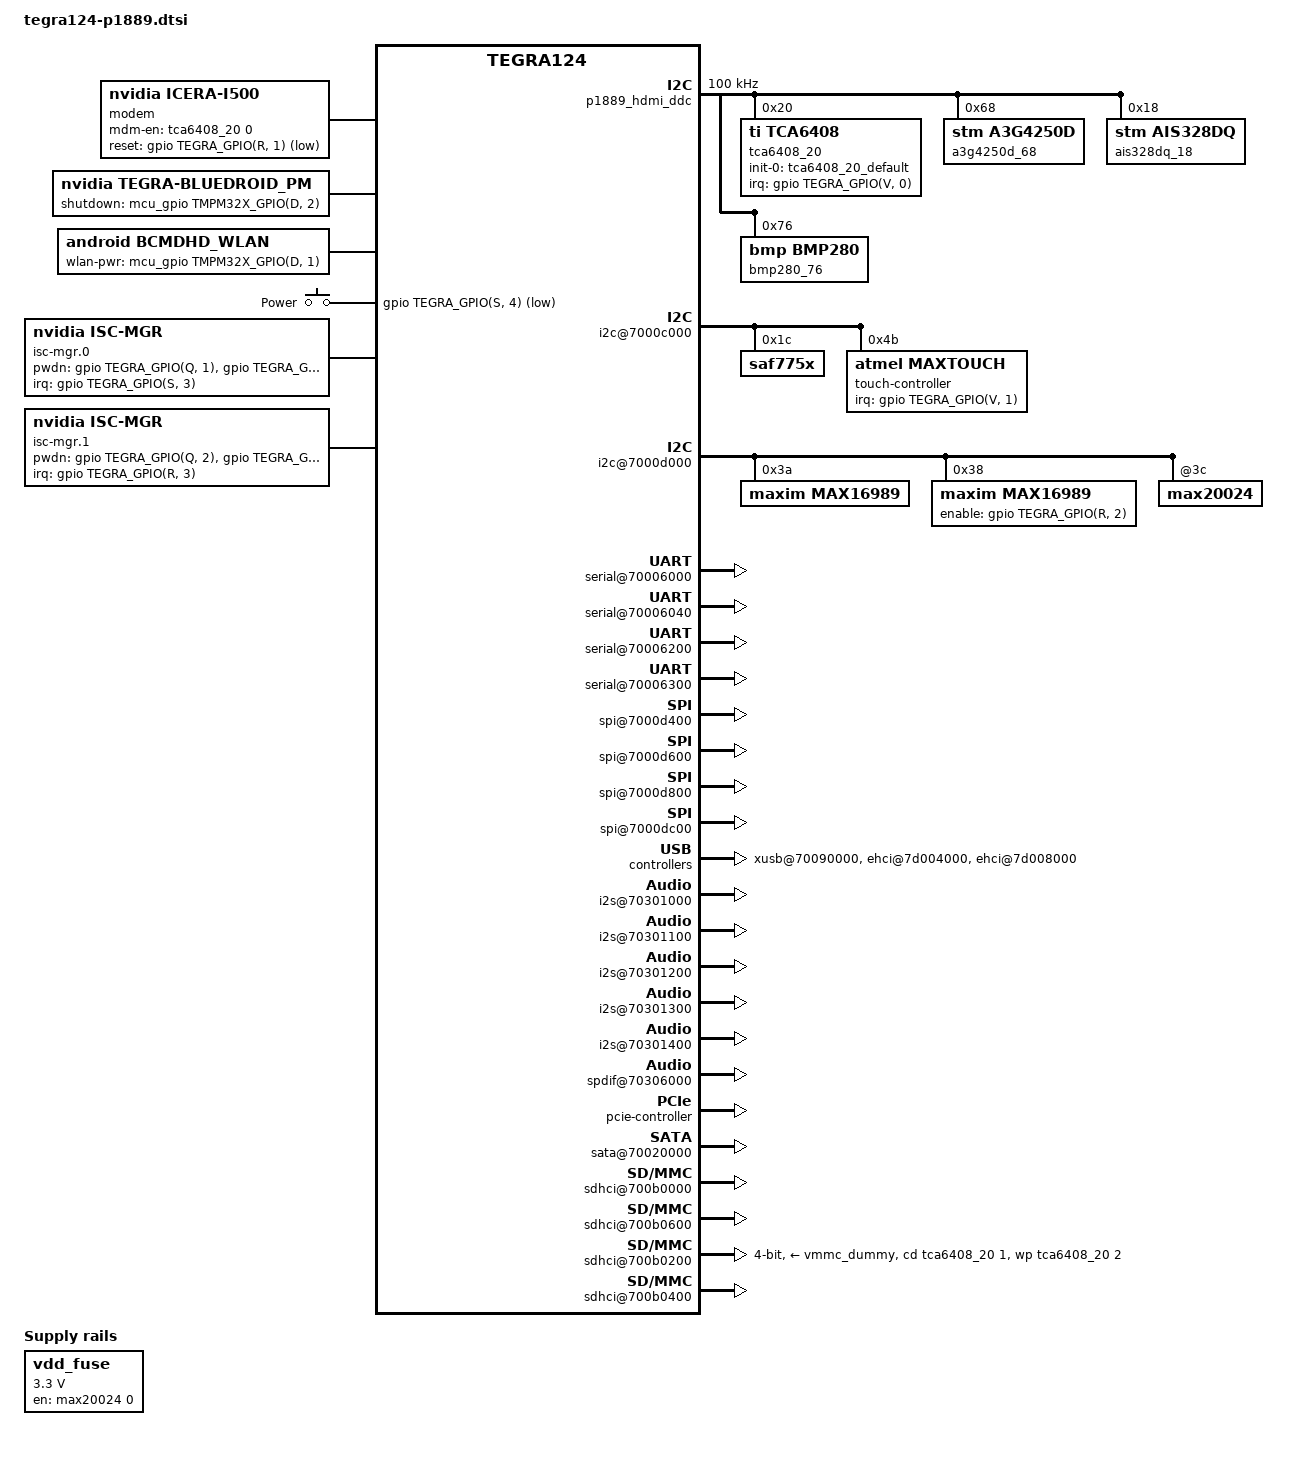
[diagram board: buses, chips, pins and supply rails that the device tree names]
/*
 * arch/arm/boot/dts/tegra124-p1889.dts
 *
 * Copyright (c) 2013-2015, NVIDIA CORPORATION.  All rights reserved.
 *
 * This program is free software; you can redistribute it and/or modify
 * it under the terms of the GNU General Public License as published by
 * the Free Software Foundation; version 2 of the License.
 *
 * This program is distributed in the hope that it will be useful, but WITHOUT
 * ANY WARRANTY; without even the implied warranty of MERCHANTABILITY or
 * FITNESS FOR A PARTICULAR PURPOSE.  See the GNU General Public License for
 * more details.
 *
 * You should have received a copy of the GNU General Public License along
 * with this program; if not, write to the Free Software Foundation, Inc.,
 * 51 Franklin Street, Fifth Floor, Boston, MA  02110-1301, USA.
 *
 */

/*
 * tegra124-p1889.dtsi is the board dtsi file representing the p1889
 * board. Since the same p1889 board is supported in multiple ways eg
 * ardbeg, virtual machines, p1889 linux etc, this file needs to be
 * included and then the required changes should be made in the
 * corresponding dts
 */

#include "tegra124-vcm30_t124.dtsi"
#include <panel-a-edp-1080p-14-0.dtsi>
#include <tegra124-platforms/tegra124-vcm30-t124-hdmi.dtsi>
#include <dt-bindings/gpio/tmpm32x-gpio.h>
#include <tegra124-platforms/tegra124-pmic-vcm30t124-max20024.dtsi>

/ {
	#address-cells = <2>;
	#size-cells = <2>;

	mcu_gpio: tmpm32x-gpio {
		compatible = "nvidia,tmpm32x-gpio";
		gpio-controller;
		#gpio-cells = <2>;
		nvidia,ttyport = "/dev/ttyTHS2";
		status = "okay";
	};

	host1x {
		hdmi {
			nvidia,hpd-gpio = <&gpio 0xFFFFFFFF 1>; /* hotplug less HDMI */
			nvidia,ddc-i2c-bus = <&p1889_hdmi_ddc>;
		};

		sor {
			status = "okay";
			panel-a-edp-1080p-14-0 {
				disp-default-out {
					nvidia,out-max-pixclk = <3367>;
					nvidia,dither = <TEGRA_DC_ORDERED_DITHER>;
					nvidia,out-depth = <0>; /* let EDID set */
				};
			};
		};

		dpaux {
			status = "okay";
		};

		/* tegradc.0 */
		dc@54200000 {
			nvidia,dc-flags = <TEGRA_DC_FLAG_ENABLED>;
			nvidia,emc-clk-rate = <204000000>;
			nvidia,fb-bpp = <32>; /* bits per pixel */
			nvidia,cmu-enable = <1>;
			status = "okay";
		};

		/* tegradc.1 */
		dc@54240000 {
			nvidia,emc-clk-rate = <300000000>;
			nvidia,fb-bpp = <32>; /* bits per pixel */
			status = "okay";
		};
	};

	p1889_hdmi_ddc: i2c@7000c400 {
		clock-frequency = <100000>;
	};

	i2c@7000c000 {
		saf775x@1c {
			compatible = "saf775x";
			reg = <0x1c>;
		};
		touch-controller@4b {
			compatible = "atmel,maxtouch";
			reg = <0x4b>;
			interrupt-parent = <&gpio>;
			interrupts = <TEGRA_GPIO(V, 1) 0x0>;
			atmel,irq_flags = <IRQ_TYPE_LEVEL_LOW>;
			status = "okay";
		};
	};

	i2c@7000d000 {
		status = "okay";

		max16989@3a {
			compatible = "maxim,max16989";
			reg = <0x3a>;
			regulator-name = "max16989-vdd-cpu";
			regulator-min-microvolt = <500000>;
			regulator-max-microvolt = <1500000>;
			consumers {
				c1 {
					regulator-consumer-supply = "vdd_cpu";
				};
			};
		};

		max16989@38 {
			compatible = "maxim,max16989";
			reg = <0x38>;
			regulator-name = "max16989-vdd-gpu";
			regulator-min-microvolt = <500000>;
			regulator-max-microvolt = <1500000>;
			maxim,enable-gpio = <&gpio TEGRA_GPIO(R, 2) 0>;
			regulator-enable-ramp-delay = <210>;
			consumers {
				c1 {
					regulator-consumer-supply = "vdd_gpu";
				};
			};
		};

		max20024@3c {
			regulators {
				ldo5 {
					status = "okay";
				};
			};
		};
	};

	regulators {
                compatible = "simple-bus";
                device_type = "fixed-regulators";
                #address-cells = <1>;
                #size-cells = <0>;

                vdd_fuse: regulator@1 {
                        compatible = "regulator-fixed-sync";
                        regulator-name = "vdd_fuse";
                        regulator-min-microvolt = <3300000>;
                        regulator-max-microvolt = <3300000>;
                        gpio = <&max20024 0 0>;
                        enable-active-high;
                };
        };


        /* Populate fuse supply */
        efuse@7000f800 {
                vpp_fuse-supply = <&vdd_fuse>;
        };

	i2c@7000c400 {
		nvidia,clock-always-on;
		tca6408_20: tca6408@20 {
			compatible = "ti,tca6408";
			gpio-controller;
			#gpio-cells = <2>;
			reg = <0x20>;
			interrupt-parent = <&gpio>;
			interrupts = <TEGRA_GPIO(V, 0) 0x0>;
			gpio-init-names = "default";
			gpio-init-0 = <&tca6408_20_default>;
			tca6408_20_default: default {
				gpio-input = <1 2 7>;
				gpio-output-low = <0 3 6>;
				gpio-output-high = <4 5>;
			};
		};
		a3g4250d_68: a3g4250d@68 {
			compatible = "stm,a3g4250d";
			reg = <0x68>;
			gyroscope_matrix = [00 ff 00 ff 00 00 00 00 ff];
		};
		ais328dq_18: ais328dq@18 {
			compatible = "stm,ais328dq";
			reg = <0x18>;
			accelerometer_matrix = [00 ff 00 ff 00 00 00 00 ff];
		};
		bmp280_76: bmp280@76 {
			compatible = "bmp,bmp280";
			nvi_config = "host";
			reg = <0x76>;
		};
	};

	modem {
		compatible = "nvidia,icera-i500";
		/* XHCI_UTMI phy type */
		nvidia,phy-type = <2>;
		nvidia,mdm-en-gpio = <&tca6408_20 0 GPIO_ACTIVE_HIGH>;
		nvidia,reset-gpio = <&gpio TEGRA_GPIO(R, 1) GPIO_ACTIVE_LOW>;
		status = "okay";
	};

	serial@70006000 {
		status = "okay";
	};

	serial@70006040 {
		compatible = "nvidia,tegra20-uart";
		console-port;
		status = "okay";
	};

	serial@70006200 {
		status = "okay";
	};

	serial@70006300 {
		status = "okay";
	};

	spi@7000d400 {
		status = "okay";
	};

	spi@7000d600 {
		status = "okay";
	};

	spi@7000d800 {
		status = "okay";
	};

	spi@7000dc00 {
		status = "okay";
	};

	xusb@70090000 {
		nvidia,portmap = <0x103>;
		nvidia,ss_portmap = <0x11>;
		nvidia,lane_owner = <0x6>;
		status = "okay";
	};

	ahub {
		status = "okay";

		i2s@70301000 {
			status = "okay";
		};
		i2s@70301100 {
			status = "okay";
		};
		i2s@70301200 {
			fsync-width = <0>;
			status = "okay";
		};
		i2s@70301300 {
			status = "okay";
		};
		i2s@70301400 {
			status = "okay";
		};
		spdif@70306000 {
			status = "okay";
		};
		amx@70303000 {
			status = "okay";
		};
		adx@70303800 {
			status = "okay";
		};
		amx@70303100 {
			status = "okay";
		};
		adx@70303900 {
			status = "okay";
		};
		dam@70302000 {
			status = "okay";
		};
		dam@70302200 {
			status = "okay";
		};
		dam@70302400 {
			status = "okay";
		};
		afc@70307000 {
			status = "okay";
		};
		afc@70307100 {
			status = "okay";
		};
		afc@70307200 {
			status = "okay";
		};
		afc@70307300 {
			status = "okay";
		};
		afc@70307400 {
			status = "okay";
		};
		afc@70307500 {
			status = "okay";
		};
	};

	pcie-controller {
		status = "okay";

		pci@1,0 {
			status = "okay";
		};

		pci@2,0 {
			status = "okay";
		};
	};

	sata@70020000 {
		status = "okay";
	};

	sdhci@700b0000 {
		status = "okay";
	};

	sdhci@700b0600 {
		pwr-off-during-lp0 = <1>;
		status = "okay";
	};

	sdhci@700b0200 {
		/delete-property/ built-in;
		/delete-property/ nvidia,disable-auto-cal;
		cd-gpios = <&tca6408_20 1 0>;
		wp-gpios = <&tca6408_20 2 0>;
		uhs-mask = <0x7F>;
		tap-delay = <0x5>;
		trim-delay = <0x3>;
		mmc-ocr-mask = <3>;
		bus-width = <4>;
		max-clk-limit = <50000000>;
		pll_source = "pll_c", "pll_p";
		vmmc-supply = <&vmmc_dummy>;
		cd_wakeup_incapable = <1>;
		calib-3v3-offsets = <0x710A>;
		calib-1v8-offsets = <0x710A>;
		auto-cal-step = <0x7>;
		/* clock freq based on mode */
		fixed-clock-freq = <25500000 24000000 24000000 47000000 24000000 47000000 0 0 0 0 0>;
		nvidia,enable-ext-loopback;
		nvidia,auto-cal-slew-override;
		status = "okay";
	};

	sdhci@700b0400 {
		vddio_sdmmc-supply = <&max20024_ldo5>;
		status = "okay";
	};

	snor {
		status = "okay";
	};

	ehci@7d000000 {
		nvidia,is-intf-utmi;
		status = "disabled";
	};

	ehci@7d004000 {
		nvidia,is-intf-utmi;
		status = "okay";
	};

	ehci@7d008000 {
		nvidia,is-intf-utmi;
		status = "okay";
	};

	bluedroid_pm {
		compatible = "nvidia,tegra-bluedroid_pm";
		id = <0>;
		bluedroid_pm,shutdown-gpio = <&mcu_gpio TMPM32X_GPIO(D, 2) GPIO_ACTIVE_HIGH>;
		status = "okay";
	};
	bcmdhd_wlan {
		compatible = "android,bcmdhd_wlan";
		wlan-pwr-gpio = <&mcu_gpio TMPM32X_GPIO(D, 1) GPIO_ACTIVE_HIGH>;
		status = "okay";
	};

	cpu_dfll_pmic_integration {
		pmic-i2c-address = <0x74>;
		pmic-i2c-voltage-register = <0x07>;
		i2c-fs-rate = <400000>;
		sel-conversion-slope = <1>;
	};

	gpio-keys {
		compatible = "gpio-keys";
		gpio_sys_12 {
			label = "Power";
			linux,code = <KEY_POWER>;
			gpios = <&gpio TEGRA_GPIO(S, 4) GPIO_ACTIVE_LOW>;
			gpio-key,wakeup;
		};
	};

	isc-mgr.0 {
		compatible = "nvidia,isc-mgr";
		i2c-bus = <3>;
		csi-port = <0>;
		pwdn-gpios = <&gpio TEGRA_GPIO(Q, 1) GPIO_ACTIVE_HIGH	/* GMSL_IN1_PDN */
			&gpio TEGRA_GPIO(I, 5) GPIO_ACTIVE_HIGH		/* CSI1_TV_EN1 */
			&gpio TEGRA_GPIO(K, 2) GPIO_ACTIVE_HIGH		/* CSI1_TV_EN2 */
			&gpio TEGRA_GPIO(K, 0) GPIO_ACTIVE_HIGH		/* CSI1_TV_EN3 */
			&gpio TEGRA_GPIO(K, 1) GPIO_ACTIVE_HIGH>;	/* CSI1_TV_EN4 */
		/* default-power-on; */
		interrupt-parent = <&gpio>;
		interrupts = <TEGRA_GPIO(S, 3) 2>; /* GMSL_IN1_STATUS_OC : falling edge sensitive */
		status = "okay";

		aggregator@6a {
			addr = <0x6a>;  /* 7 bit slave address */
			reg_len = <8>;  /* 8 bit register length */
			dat_len = <8>;  /* 8 bit data length */
		};

		serializer0@40 {
			addr = <0x40>;  /* 7 bit slave address */
			reg_len = <8>;  /* 8 bit register length */
			dat_len = <8>;  /* 8 bit data length */
		};

		sensor0@30 {
			addr = <0x30>;  /* 7 bit slave address */
			reg_len = <16>;  /* 8 bit register length */
			dat_len = <8>;  /* 8 bit data length */
		};
	};

	isc-mgr.1 {
		compatible = "nvidia,isc-mgr";
		i2c-bus = <2>;
		csi-port = <2>;
		pwdn-gpios = <&gpio TEGRA_GPIO(Q, 2) GPIO_ACTIVE_HIGH	/* GMSL_IN2_PDN */
			&gpio TEGRA_GPIO(K, 3) GPIO_ACTIVE_HIGH		/* CSI2_TV_EN1 */
			&gpio TEGRA_GPIO(EE, 1) GPIO_ACTIVE_HIGH	/* CSI2_TV_EN2 */
			&gpio TEGRA_GPIO(R, 5) GPIO_ACTIVE_HIGH		/* CSI2_TV_EN3 */
			&gpio TEGRA_GPIO(R, 6) GPIO_ACTIVE_HIGH>;	/* CSI2_TV_EN4 */
		/* default-power-on; */
		interrupt-parent = <&gpio>;
		interrupts = <TEGRA_GPIO(R, 3) 2>; /* GMSL_IN2_STATUS_OC : falling edge sensitive */
		status = "okay";

		aggregator@6a {
			addr = <0x6a>;  /* 7 bit slave address */
			reg_len = <8>;  /* 8 bit register length */
			dat_len = <8>;  /* 8 bit data length */
		};

		serializer0@40 {
			addr = <0x40>;  /* 7 bit slave address */
			reg_len = <8>;  /* 8 bit register length */
			dat_len = <8>;  /* 8 bit data length */
		};

		sensor0@30 {
			addr = <0x30>;  /* 7 bit slave address */
			reg_len = <16>;  /* 8 bit register length */
			dat_len = <8>;  /* 8 bit data length */
		};
	};
};
